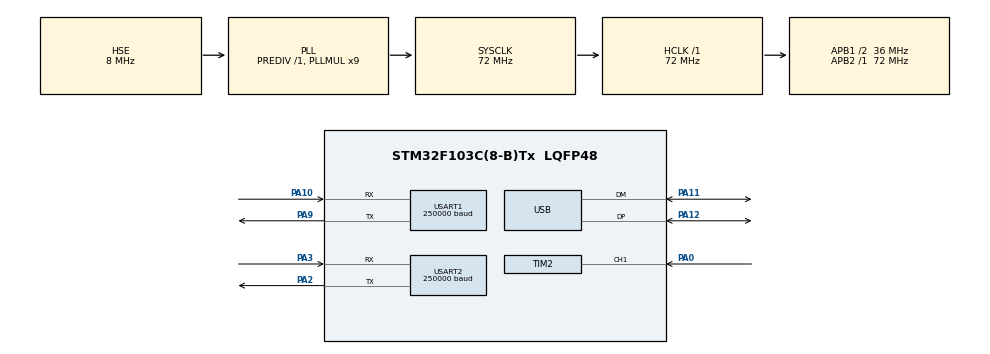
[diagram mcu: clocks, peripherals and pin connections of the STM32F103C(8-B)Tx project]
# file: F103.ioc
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Mcu.Family=STM32F1
Mcu.Name=STM32F103C(8-B)Tx
Mcu.Package=LQFP48
NVIC.PriorityGroup=NVIC_PRIORITYGROUP_4
NVIC.USART2_IRQn=true\:1\:0\:true\:false\:true\:true\:true\:true
NVIC.USB_LP_CAN1_RX0_IRQn=true\:0\:0\:false\:false\:true\:false\:true\:true
PA0-WKUP.Signal=S_TIM2_CH1_ETR
PA10.Mode=Asynchronous
PA10.Signal=USART1_RX
PA11.Mode=Device
PA11.Signal=USB_DM
PA12.Mode=Device
PA12.Signal=USB_DP
PA13.Mode=Serial_Wire
PA13.Signal=SYS_JTMS-SWDIO
PA14.Mode=Serial_Wire
PA14.Signal=SYS_JTCK-SWCLK
PA2.Mode=Asynchronous
PA2.Signal=USART2_TX
PA3.Mode=Asynchronous
PA3.Signal=USART2_RX
PA9.Mode=Asynchronous
PA9.Signal=USART1_TX
PD0-OSC_IN.Mode=HSE-External-Oscillator
PD0-OSC_IN.Signal=RCC_OSC_IN
PD1-OSC_OUT.Mode=HSE-External-Oscillator
PD1-OSC_OUT.Signal=RCC_OSC_OUT
ProjectManager.HeapSize=0x200
ProjectManager.StackSize=0x400
ProjectManager.TargetToolchain=STM32CubeIDE
RCC.AHBFreq_Value=72000000
RCC.APB1CLKDivider=RCC_HCLK_DIV2
RCC.APB1Freq_Value=36000000
RCC.APB1TimFreq_Value=72000000
RCC.APB2Freq_Value=72000000
RCC.APB2TimFreq_Value=72000000
RCC.HCLKFreq_Value=72000000
RCC.PLLMUL=RCC_PLL_MUL9
RCC.PLLSourceVirtual=RCC_PLLSOURCE_HSE
RCC.SYSCLKFreq_VALUE=72000000
RCC.SYSCLKSource=RCC_SYSCLKSOURCE_PLLCLK
RCC.USBFreq_Value=48000000
RCC.USBPrescaler=RCC_USBCLKSOURCE_PLL_DIV1_5
SH.S_TIM2_CH1_ETR.0=TIM2_CH1,Input_Capture1_from_TI1
TIM2.Channel-Input_Capture1_from_TI1=TIM_CHANNEL_1
TIM2.Prescaler=71
USART1.BaudRate=250000
USART1.StopBits=STOPBITS_2
USART1.VirtualMode=VM_ASYNC
USART2.BaudRate=250000
USART2.StopBits=STOPBITS_2
USART2.VirtualMode=VM_ASYNC
USB_DEVICE.APP_RX_DATA_SIZE=640
USB_DEVICE.APP_TX_DATA_SIZE=128
USB_DEVICE.CLASS_NAME_FS=CDC
USB_DEVICE.VirtualMode=Cdc
USB_DEVICE.VirtualModeFS=Cdc_FS
VP_TIM1_VS_ClockSourceINT.Mode=Internal
VP_TIM2_VS_ClockSourceINT.Mode=Internal
VP_USB_DEVICE_VS_USB_DEVICE_CDC_FS.Mode=CDC_FS
board=custom

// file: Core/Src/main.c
/* USER CODE BEGIN Header */
/**
  ******************************************************************************
  * @file           : main.c
  * @brief          : Main program body
  ******************************************************************************
  * @attention
  *
  * Copyright (c) 2025 STMicroelectronics.
  * All rights reserved.
  *
  * This software is licensed under terms that can be found in the LICENSE file
  * in the root directory of this software component.
  * If no LICENSE file comes with this software, it is provided AS-IS.
  *
  ******************************************************************************
  */
/* USER CODE END Header */
#include "main.h"
#include "usb_device.h"

/* USER CODE BEGIN Includes */
#include "usbd_cdc_if.h"
#include "stdint.h"
#include "Effect_Handle.h"

/* USER CODE END Includes */

TIM_HandleTypeDef htim1;
TIM_HandleTypeDef htim2;

UART_HandleTypeDef huart1;
UART_HandleTypeDef huart2;

void SystemClock_Config(void);
static void MX_GPIO_Init(void);
static void MX_USART2_UART_Init(void);
static void MX_TIM2_Init(void);
static void MX_TIM1_Init(void);
static void MX_USART1_UART_Init(void);

/* USER CODE BEGIN 0 */

Effect_t RxBuffer[80];
uint8_t num = 0;
uint8_t currentEffect = 0;
uint8_t flash_flag = 0;

/* USER CODE END 0 */

int main(void)
{

  /* MCU Configuration--------------------------------------------------------*/

  /* Reset of all peripherals, Initializes the Flash interface and the Systick. */
  HAL_Init();

  /* Configure the system clock */
  SystemClock_Config();

  /* Initialize all configured peripherals */
  MX_GPIO_Init();
  MX_USB_DEVICE_Init();
  MX_USART2_UART_Init();
  MX_TIM2_Init();
  MX_TIM1_Init();
  MX_USART1_UART_Init();
  /* USER CODE BEGIN 2 */
  //Flash_Erase(ADDRESS_DATA_STORAGE);
  //Flash_Write_Int(ADDRESS_DATA_STORAGE, 32);
  //int i = Flash_Read_Int(ADDRESS_DATA_STORAGE);
  memset(RxBuffer, 0, sizeof(RxBuffer));

  ReadEffectFromFlash(DATA_PAGE_ADDR);

  uint32_t previousTick = HAL_GetTick();
  /* USER CODE END 2 */

  /* Infinite loop */
  while (1)
  {

    /* USER CODE BEGIN 3 */

	  //if effects are received, store them into flash
	  StoreEffectIntoFlash(DATA_PAGE_ADDR);

	  //initialize Break and Mark After Break Signal
	  BMAB_Init();

	  //get the current effect
	  Effect_t effect = RxBuffer[currentEffect];

	  //run the selected effect
	  RunEffect(effect);

	  //Update effect
	  UpdateEffect(effect, &previousTick);
  }
  /* USER CODE END 3 */
}

void SystemClock_Config(void)
{
  RCC_OscInitTypeDef RCC_OscInitStruct = {0};
  RCC_ClkInitTypeDef RCC_ClkInitStruct = {0};
  RCC_PeriphCLKInitTypeDef PeriphClkInit = {0};

  /** Initializes the RCC Oscillators according to the specified parameters
  * in the RCC_OscInitTypeDef structure.
  */
  RCC_OscInitStruct.OscillatorType = RCC_OSCILLATORTYPE_HSE;
  RCC_OscInitStruct.HSEState = RCC_HSE_ON;
  RCC_OscInitStruct.HSEPredivValue = RCC_HSE_PREDIV_DIV1;
  RCC_OscInitStruct.HSIState = RCC_HSI_ON;
  RCC_OscInitStruct.PLL.PLLState = RCC_PLL_ON;
  RCC_OscInitStruct.PLL.PLLSource = RCC_PLLSOURCE_HSE;
  RCC_OscInitStruct.PLL.PLLMUL = RCC_PLL_MUL9;
  if (HAL_RCC_OscConfig(&RCC_OscInitStruct) != HAL_OK)
  {
    Error_Handler();
  }

  /** Initializes the CPU, AHB and APB buses clocks
  */
  RCC_ClkInitStruct.ClockType = RCC_CLOCKTYPE_HCLK|RCC_CLOCKTYPE_SYSCLK
                              |RCC_CLOCKTYPE_PCLK1|RCC_CLOCKTYPE_PCLK2;
  RCC_ClkInitStruct.SYSCLKSource = RCC_SYSCLKSOURCE_PLLCLK;
  RCC_ClkInitStruct.AHBCLKDivider = RCC_SYSCLK_DIV1;
  RCC_ClkInitStruct.APB1CLKDivider = RCC_HCLK_DIV2;
  RCC_ClkInitStruct.APB2CLKDivider = RCC_HCLK_DIV1;

  if (HAL_RCC_ClockConfig(&RCC_ClkInitStruct, FLASH_LATENCY_2) != HAL_OK)
  {
    Error_Handler();
  }
  PeriphClkInit.PeriphClockSelection = RCC_PERIPHCLK_USB;
  PeriphClkInit.UsbClockSelection = RCC_USBCLKSOURCE_PLL_DIV1_5;
  if (HAL_RCCEx_PeriphCLKConfig(&PeriphClkInit) != HAL_OK)
  {
    Error_Handler();
  }
}

static void MX_TIM1_Init(void)
{

  TIM_ClockConfigTypeDef sClockSourceConfig = {0};
  TIM_MasterConfigTypeDef sMasterConfig = {0};

  htim1.Instance = TIM1;
  htim1.Init.Prescaler = 0;
  htim1.Init.CounterMode = TIM_COUNTERMODE_UP;
  htim1.Init.Period = 65535;
  htim1.Init.ClockDivision = TIM_CLOCKDIVISION_DIV1;
  htim1.Init.RepetitionCounter = 0;
  htim1.Init.AutoReloadPreload = TIM_AUTORELOAD_PRELOAD_DISABLE;
  if (HAL_TIM_Base_Init(&htim1) != HAL_OK)
  {
    Error_Handler();
  }
  sClockSourceConfig.ClockSource = TIM_CLOCKSOURCE_INTERNAL;
  if (HAL_TIM_ConfigClockSource(&htim1, &sClockSourceConfig) != HAL_OK)
  {
    Error_Handler();
  }
  sMasterConfig.MasterOutputTrigger = TIM_TRGO_RESET;
  sMasterConfig.MasterSlaveMode = TIM_MASTERSLAVEMODE_DISABLE;
  if (HAL_TIMEx_MasterConfigSynchronization(&htim1, &sMasterConfig) != HAL_OK)
  {
    Error_Handler();
  }

}

static void MX_TIM2_Init(void)
{

  TIM_ClockConfigTypeDef sClockSourceConfig = {0};
  TIM_MasterConfigTypeDef sMasterConfig = {0};
  TIM_IC_InitTypeDef sConfigIC = {0};

  htim2.Instance = TIM2;
  htim2.Init.Prescaler = 71;
  htim2.Init.CounterMode = TIM_COUNTERMODE_UP;
  htim2.Init.Period = 65535;
  htim2.Init.ClockDivision = TIM_CLOCKDIVISION_DIV1;
  htim2.Init.AutoReloadPreload = TIM_AUTORELOAD_PRELOAD_DISABLE;
  if (HAL_TIM_Base_Init(&htim2) != HAL_OK)
  {
    Error_Handler();
  }
  sClockSourceConfig.ClockSource = TIM_CLOCKSOURCE_INTERNAL;
  if (HAL_TIM_ConfigClockSource(&htim2, &sClockSourceConfig) != HAL_OK)
  {
    Error_Handler();
  }
  if (HAL_TIM_IC_Init(&htim2) != HAL_OK)
  {
    Error_Handler();
  }
  sMasterConfig.MasterOutputTrigger = TIM_TRGO_RESET;
  sMasterConfig.MasterSlaveMode = TIM_MASTERSLAVEMODE_DISABLE;
  if (HAL_TIMEx_MasterConfigSynchronization(&htim2, &sMasterConfig) != HAL_OK)
  {
    Error_Handler();
  }
  sConfigIC.ICPolarity = TIM_INPUTCHANNELPOLARITY_RISING;
  sConfigIC.ICSelection = TIM_ICSELECTION_DIRECTTI;
  sConfigIC.ICPrescaler = TIM_ICPSC_DIV1;
  sConfigIC.ICFilter = 0;
  if (HAL_TIM_IC_ConfigChannel(&htim2, &sConfigIC, TIM_CHANNEL_1) != HAL_OK)
  {
    Error_Handler();
  }

}

static void MX_USART1_UART_Init(void)
{

  huart1.Instance = USART1;
  huart1.Init.BaudRate = 250000;
  huart1.Init.WordLength = UART_WORDLENGTH_8B;
  huart1.Init.StopBits = UART_STOPBITS_2;
  huart1.Init.Parity = UART_PARITY_NONE;
  huart1.Init.Mode = UART_MODE_TX_RX;
  huart1.Init.HwFlowCtl = UART_HWCONTROL_NONE;
  huart1.Init.OverSampling = UART_OVERSAMPLING_16;
  if (HAL_UART_Init(&huart1) != HAL_OK)
  {
    Error_Handler();
  }

}

static void MX_USART2_UART_Init(void)
{

  huart2.Instance = USART2;
  huart2.Init.BaudRate = 250000;
  huart2.Init.WordLength = UART_WORDLENGTH_8B;
  huart2.Init.StopBits = UART_STOPBITS_2;
  huart2.Init.Parity = UART_PARITY_NONE;
  huart2.Init.Mode = UART_MODE_TX_RX;
  huart2.Init.HwFlowCtl = UART_HWCONTROL_NONE;
  huart2.Init.OverSampling = UART_OVERSAMPLING_16;
  if (HAL_UART_Init(&huart2) != HAL_OK)
  {
    Error_Handler();
  }

}

static void MX_GPIO_Init(void)
{

  /* GPIO Ports Clock Enable */
  __HAL_RCC_GPIOD_CLK_ENABLE();
  __HAL_RCC_GPIOA_CLK_ENABLE();

}

void Error_Handler(void)
{
  __disable_irq();
  while (1)
  {
  }
}
